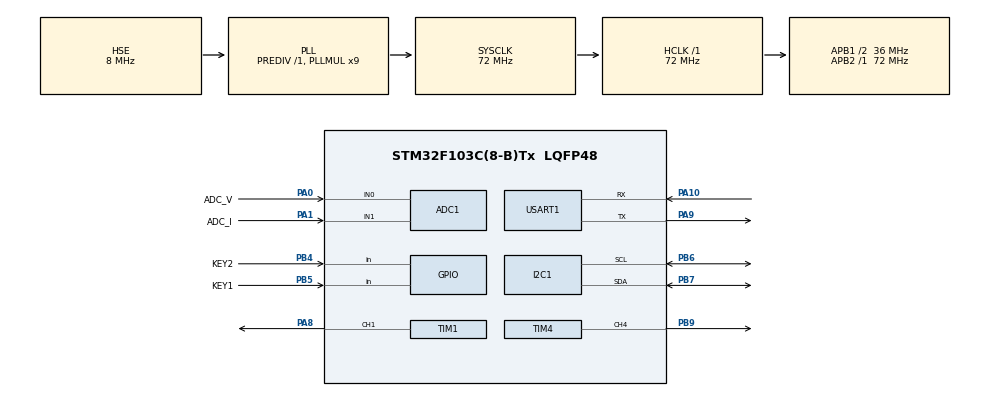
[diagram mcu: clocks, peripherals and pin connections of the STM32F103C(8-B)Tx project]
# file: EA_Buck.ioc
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ADC1.Channel-0\#ChannelRegularConversion=ADC_CHANNEL_1
ADC1.Channel-1\#ChannelRegularConversion=ADC_CHANNEL_0
ADC1.ExternalTrigConv=ADC_EXTERNALTRIGCONV_T4_CC4
ADC1.NbrOfConversion=2
ADC1.NbrOfConversionFlag=1
ADC1.Rank-0\#ChannelRegularConversion=1
ADC1.Rank-1\#ChannelRegularConversion=2
ADC1.SamplingTime-0\#ChannelRegularConversion=ADC_SAMPLETIME_13CYCLES_5
ADC1.SamplingTime-1\#ChannelRegularConversion=ADC_SAMPLETIME_13CYCLES_5
ADC1.master=1
Dma.ADC1.0.Direction=DMA_PERIPH_TO_MEMORY
Dma.ADC1.0.Instance=DMA1_Channel1
Dma.ADC1.0.MemDataAlignment=DMA_MDATAALIGN_HALFWORD
Dma.ADC1.0.MemInc=DMA_MINC_ENABLE
Dma.ADC1.0.Mode=DMA_CIRCULAR
Dma.ADC1.0.PeriphDataAlignment=DMA_PDATAALIGN_HALFWORD
Dma.ADC1.0.PeriphInc=DMA_PINC_DISABLE
Dma.ADC1.0.Priority=DMA_PRIORITY_LOW
Dma.I2C1_TX.1.Direction=DMA_MEMORY_TO_PERIPH
Dma.I2C1_TX.1.Instance=DMA1_Channel6
Dma.I2C1_TX.1.MemDataAlignment=DMA_MDATAALIGN_BYTE
Dma.I2C1_TX.1.MemInc=DMA_MINC_ENABLE
Dma.I2C1_TX.1.Mode=DMA_NORMAL
Dma.I2C1_TX.1.PeriphDataAlignment=DMA_PDATAALIGN_BYTE
Dma.I2C1_TX.1.PeriphInc=DMA_PINC_DISABLE
Dma.I2C1_TX.1.Priority=DMA_PRIORITY_LOW
Dma.Request0=ADC1
Dma.Request1=I2C1_TX
I2C1.I2C_Mode=I2C_Fast
Mcu.Family=STM32F1
Mcu.Name=STM32F103C(8-B)Tx
Mcu.Package=LQFP48
NVIC.DMA1_Channel1_IRQn=true\:1\:0\:true\:false\:true\:false\:true\:true
NVIC.DMA1_Channel6_IRQn=true\:2\:0\:true\:false\:true\:false\:true\:true
NVIC.I2C1_ER_IRQn=true\:2\:0\:true\:false\:true\:true\:true\:true
NVIC.I2C1_EV_IRQn=true\:2\:0\:true\:false\:true\:true\:true\:true
NVIC.PriorityGroup=NVIC_PRIORITYGROUP_4
PA0-WKUP.GPIO_Label=ADC_V
PA0-WKUP.Signal=ADCx_IN0
PA1.GPIO_Label=ADC_I
PA1.Signal=ADCx_IN1
PA10.Mode=Asynchronous
PA10.Signal=USART1_RX
PA13.Mode=Serial_Wire
PA13.Signal=SYS_JTMS-SWDIO
PA14.Mode=Serial_Wire
PA14.Signal=SYS_JTCK-SWCLK
PA8.Signal=S_TIM1_CH1
PA9.Mode=Asynchronous
PA9.Signal=USART1_TX
PB4.GPIO_Label=KEY2
PB4.Signal=GPIO_Input
PB5.GPIO_Label=KEY1
PB5.Signal=GPIO_Input
PB6.Mode=I2C
PB6.Signal=I2C1_SCL
PB7.Mode=I2C
PB7.Signal=I2C1_SDA
PB9.Signal=S_TIM4_CH4
PD0-OSC_IN.Mode=HSE-External-Oscillator
PD0-OSC_IN.Signal=RCC_OSC_IN
PD1-OSC_OUT.Mode=HSE-External-Oscillator
PD1-OSC_OUT.Signal=RCC_OSC_OUT
ProjectManager.HeapSize=0x200
ProjectManager.StackSize=0x400
ProjectManager.TargetToolchain=MDK-ARM V5.32
RCC.ADCPresc=RCC_ADCPCLK2_DIV6
RCC.AHBFreq_Value=72000000
RCC.APB1CLKDivider=RCC_HCLK_DIV2
RCC.APB1Freq_Value=36000000
RCC.APB1TimFreq_Value=72000000
RCC.APB2Freq_Value=72000000
RCC.APB2TimFreq_Value=72000000
RCC.HCLKFreq_Value=72000000
RCC.PLLMUL=RCC_PLL_MUL9
RCC.PLLSourceVirtual=RCC_PLLSOURCE_HSE
RCC.SYSCLKFreq_VALUE=72000000
RCC.SYSCLKSource=RCC_SYSCLKSOURCE_PLLCLK
RCC.USBFreq_Value=72000000
SH.ADCx_IN0.0=ADC1_IN0,IN0
SH.ADCx_IN1.0=ADC1_IN1,IN1
SH.S_TIM1_CH1.0=TIM1_CH1,PWM Generation1 CH1
SH.S_TIM4_CH4.0=TIM4_CH4,PWM Generation4 CH4
TIM1.Channel-PWM\ Generation1\ CH1=TIM_CHANNEL_1
TIM1.Period=3599
TIM1.RepetitionCounter=1
TIM1.TIM_MasterOutputTrigger=TIM_TRGO_UPDATE
TIM4.Channel-PWM\ Generation4\ CH4=TIM_CHANNEL_4
TIM4.Period=719
TIM4.Prescaler=9
USART1.VirtualMode=VM_ASYNC
VP_TIM1_VS_ClockSourceINT.Mode=Internal
VP_TIM4_VS_ClockSourceINT.Mode=Internal
VP_TIM4_VS_ClockSourceITR.Mode=TriggerSource_ITR0
VP_TIM4_VS_ControllerModeReset.Mode=Reset Mode
board=custom

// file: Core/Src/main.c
/* USER CODE BEGIN Header */
/**
  ******************************************************************************
  * @file           : main.c
  * @brief          : Main program body
  ******************************************************************************
  * @attention
  *
  * Copyright (c) 2026 STMicroelectronics.
  * All rights reserved.
  *
  * This software is licensed under terms that can be found in the LICENSE file
  * in the root directory of this software component.
  * If no LICENSE file comes with this software, it is provided AS-IS.
  *
  ******************************************************************************
  */
/* USER CODE END Header */
#include "main.h"
#include "adc.h"
#include "dma.h"
#include "i2c.h"
#include "tim.h"
#include "usart.h"
#include "gpio.h"

/* USER CODE BEGIN Includes */
#include "app_adc.h"
#include "app_cmd.h"
#include "app_control.h"
#include "app_display.h"
#include "app_key.h"
#include "app_telemetry.h"
#include "tim_test.h"
/* USER CODE END Includes */

void SystemClock_Config(void);

int main(void)
{

  /* MCU Configuration--------------------------------------------------------*/

  /* Reset of all peripherals, Initializes the Flash interface and the Systick. */
  HAL_Init();

  /* Configure the system clock */
  SystemClock_Config();

  /* Initialize all configured peripherals */
  MX_GPIO_Init();
  MX_DMA_Init();
  MX_ADC1_Init();
  MX_I2C1_Init();
  MX_TIM1_Init();
  MX_TIM4_Init();
  MX_USART1_UART_Init();
  /* USER CODE BEGIN 2 */
  APP_TELEMETRY_Init();
  APP_DISPLAY_Init();
  APP_CONTROL_Init();
  APP_CMD_Init();          /* RTT 命令通道：先设电压再开输出 */
  APP_KEY_Init();
  // TEST_TIM_Init();        // [CL_TIMING_MEASURE]
  APP_ADC_Init();
  /* USER CODE END 2 */

  /* Infinite loop */
  while (1)
  {

    /* USER CODE BEGIN 3 */
    APP_CMD_Task();
    APP_KEY_Task();
    APP_DISPLAY_Task();
    /* 控制已移入 ADC 完成中断（HAL_ADC_ConvCpltCallback → APP_CONTROL_Update） */
    // TEST_TIM_Sweep();      // [CL_TIMING_MEASURE]
    // TEST_TIM_Report();     // [CL_TIMING_MEASURE]
  }
  /* USER CODE END 3 */
}

void SystemClock_Config(void)
{
  RCC_OscInitTypeDef RCC_OscInitStruct = {0};
  RCC_ClkInitTypeDef RCC_ClkInitStruct = {0};
  RCC_PeriphCLKInitTypeDef PeriphClkInit = {0};

  /** Initializes the RCC Oscillators according to the specified parameters
  * in the RCC_OscInitTypeDef structure.
  */
  RCC_OscInitStruct.OscillatorType = RCC_OSCILLATORTYPE_HSE;
  RCC_OscInitStruct.HSEState = RCC_HSE_ON;
  RCC_OscInitStruct.HSEPredivValue = RCC_HSE_PREDIV_DIV1;
  RCC_OscInitStruct.HSIState = RCC_HSI_ON;
  RCC_OscInitStruct.PLL.PLLState = RCC_PLL_ON;
  RCC_OscInitStruct.PLL.PLLSource = RCC_PLLSOURCE_HSE;
  RCC_OscInitStruct.PLL.PLLMUL = RCC_PLL_MUL9;
  if (HAL_RCC_OscConfig(&RCC_OscInitStruct) != HAL_OK)
  {
    Error_Handler();
  }

  /** Initializes the CPU, AHB and APB buses clocks
  */
  RCC_ClkInitStruct.ClockType = RCC_CLOCKTYPE_HCLK|RCC_CLOCKTYPE_SYSCLK
                              |RCC_CLOCKTYPE_PCLK1|RCC_CLOCKTYPE_PCLK2;
  RCC_ClkInitStruct.SYSCLKSource = RCC_SYSCLKSOURCE_PLLCLK;
  RCC_ClkInitStruct.AHBCLKDivider = RCC_SYSCLK_DIV1;
  RCC_ClkInitStruct.APB1CLKDivider = RCC_HCLK_DIV2;
  RCC_ClkInitStruct.APB2CLKDivider = RCC_HCLK_DIV1;

  if (HAL_RCC_ClockConfig(&RCC_ClkInitStruct, FLASH_LATENCY_2) != HAL_OK)
  {
    Error_Handler();
  }
  PeriphClkInit.PeriphClockSelection = RCC_PERIPHCLK_ADC;
  PeriphClkInit.AdcClockSelection = RCC_ADCPCLK2_DIV6;
  if (HAL_RCCEx_PeriphCLKConfig(&PeriphClkInit) != HAL_OK)
  {
    Error_Handler();
  }
}

void Error_Handler(void)
{
  __disable_irq();
  while (1)
  {
  }
}
